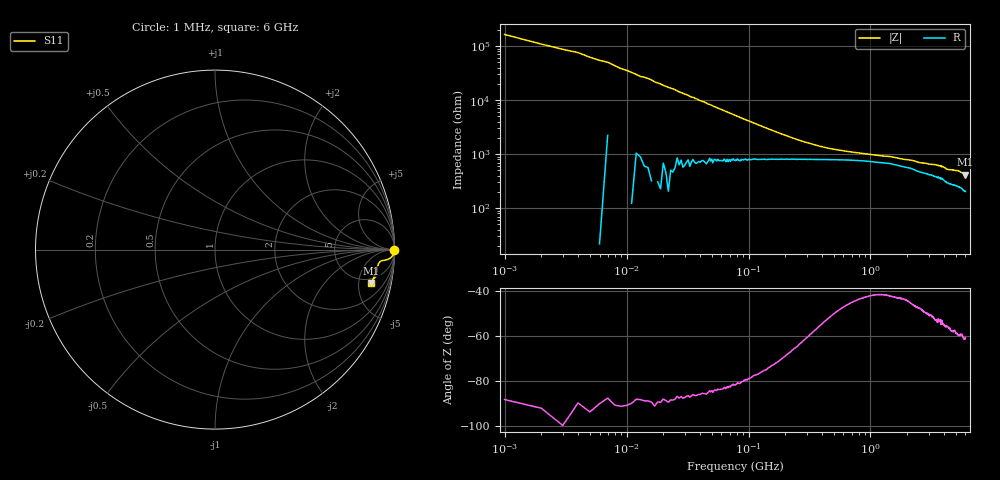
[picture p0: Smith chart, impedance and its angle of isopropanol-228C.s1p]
! COPPER MOUNTAIN TECHNOLOGIES, R60, 23103002, 24.3.3/3.0
! Date: 23/10/2026 13:38:30
! Data: Format [Calibration Info]
! Frequency		S11: Re/Im RO
# HZ S RI R 50
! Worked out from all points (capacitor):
!   1280 points, 1 MHz to 6 GHz, reference 50 ohm
!   read as one part to ground: C = 448 fF near 7 MHz
!   lowest |Z| = 416 ohm at 6 GHz (marker M1)
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1000000  1 -0.00061
6e7  0.9982 -0.0148
1e8  0.995 -0.0237
2.05e8  0.9824 -0.0418
2.95e8  0.9699 -0.0514
3.85e8  0.9585 -0.0564
5.05e8  0.947 -0.0592
7.55e8  0.9334 -0.061
1.11e9  0.9223 -0.0647
1.505e9  0.9179 -0.0699
1.85e9  0.9108 -0.078
2.255e9  0.9085 -0.0874
2.55e9  0.9028 -0.0968
3.005e9  0.9012 -0.1064
3.555e9  0.9026 -0.1175
3.62e9  0.8977 -0.1189
3.755e9  0.8963 -0.1227
3.82e9  0.8974 -0.1206
4.005e9  0.8962 -0.1293
4.18e9  0.8897 -0.1385
4.36e9  0.8868 -0.1434
4.505e9  0.888 -0.1456
4.61e9  0.8899 -0.1471
4.875e9  0.8867 -0.1503
5.255e9  0.8892 -0.1575
5.625e9  0.8778 -0.1693
5.85e9  0.8775 -0.18
6e9  0.8707 -0.1854
